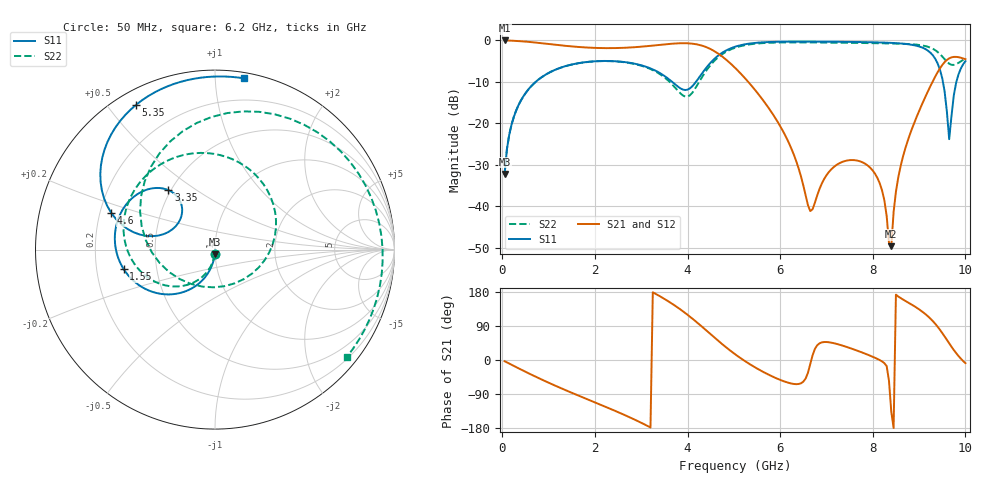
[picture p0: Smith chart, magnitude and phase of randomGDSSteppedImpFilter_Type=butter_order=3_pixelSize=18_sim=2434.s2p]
! freq	dB(S11)	phase(S11)	dB(S12)	phase(S12)
!  dB(S21)	phase(S21)	dB(S22)	phase(S22)
!S-par simulation data
#  GHz  S  DB  R 50
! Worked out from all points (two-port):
!   200 points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, 50 MHz to 10 GHz, reference 50 ohm
!   highest |S21| = -0.01 dB at 50 MHz (marker M1); lowest = -49.6 dB at 8.4 GHz (marker M2)
!   |S21| within 3 dB of the highest: start of sweep to 4.639 GHz
!   lowest |S11| = -32.2 dB at 50 MHz (marker M3), VSWR 1.05, Z = 49.8 - j2.45 ohm
!   |S11| at or under -10 dB: start of sweep to 720 MHz; 3.67 GHz to 4.18 GHz (509.7 MHz wide, 13 % of centre); 9.515 GHz to 9.805 GHz (290.7 MHz wide, 3.01 % of centre)
!   |S22| runs from -32.2 to -0.5 dB; largest |S21 - S12| = 0
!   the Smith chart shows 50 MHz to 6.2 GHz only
!   S11 on the Smith chart (normalised r, x): 50 MHz: 1.00, -0.05; 1.55 GHz: 0.32, -0.09; 3.35 GHz: 0.49, +0.39; 4.6 GHz: 0.25, +0.16; 5.35 GHz: 0.06, +0.59; 6.2 GHz: 0.04, +1.19
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0.05  -32.17 -93.0  -0.01 -3.2  -0.01 -3.2  -32.18 -93.7
0.45  -13.56 -115.5  -0.23 -28.0  -0.23 -28.0  -13.57 -121.6
1.55  -5.68 -167.9  -1.49 -89.1  -1.49 -89.1  -5.69 168.7
1.75  -5.29 -176.1  -1.66 -99.3  -1.66 -99.3  -5.31 156.6
2.65  -5.22 150.0  -1.76 -145.6  -1.76 -145.6  -5.28 98.4
3.35  -7.52 128.1  -1.13 172.0  -1.13 172.0  -7.74 37.4
3.4  -7.83 127.1  -1.07 168.5  -1.07 168.5  -8.09 31.7
4.05  -11.57 155.1  -0.72 114.6  -0.72 114.6  -13.23 -108.8
4.6  -4.24 160.5  -2.73 57.2  -2.73 57.2  -4.68 127.8
5.05  -1.43 134.9  -6.86 13.1  -6.86 13.1  -1.68 66.1
5.35  -0.74 118.6  -10.49 -11.5  -10.49 -11.5  -0.94 33.0
6.2  -0.28 80.3  -24.98 -60.8  -24.98 -60.8  -0.47 -39.3
6.7  -0.28 60.5  -40.67 12.3  -40.67 12.3  -0.48 -72.8
7.75  -0.39 19.9  -29.23 20.8  -29.23 20.8  -0.61 -132.1
8.15  -0.48 3.3  -34.41 -0.2  -34.41 -0.2  -0.67 -153.0
8.35  -0.56 -5.7  -48.76 -54.8  -48.76 -54.8  -0.71 -163.5
8.4  -0.59 -8.0  -49.57 -137.0  -49.57 -137.0  -0.72 -166.2
8.65  -0.78 -20.7  -28.08 159.8  -28.08 159.8  -0.80 -179.9
9.35  -4.44 -81.1  -8.67 95.4  -8.67 95.4  -2.36 134.8
9.65  -23.79 151.7  -4.32 44.0  -4.32 44.0  -5.60 127.2
9.8  -10.21 42.1  -3.96 18.3  -3.96 18.3  -5.71 134.0
10  -5.00 11.4  -4.51 -8.3  -4.51 -8.3  -4.35 132.5
